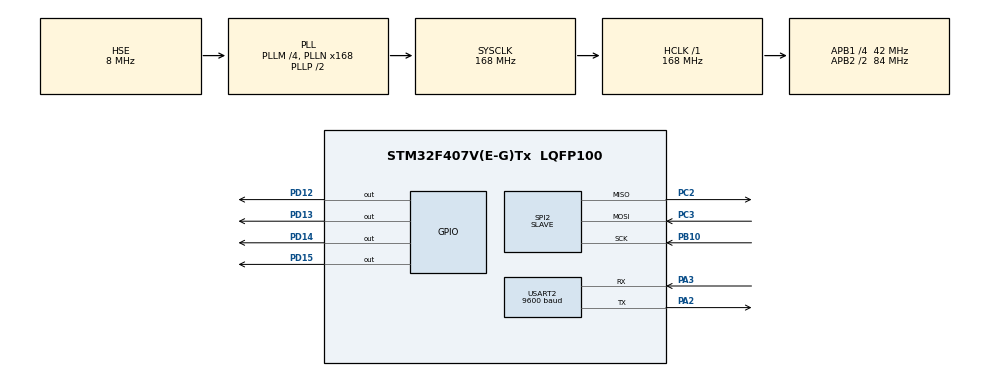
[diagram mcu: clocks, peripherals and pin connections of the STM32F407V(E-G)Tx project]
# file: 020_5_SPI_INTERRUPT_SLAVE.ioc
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Mcu.Family=STM32F4
PC3.Mode=Full_Duplex_Slave
RCC.PLLSourceVirtual=RCC_PLLSOURCE_HSE
PH0-OSC_IN.Signal=RCC_OSC_IN
RCC.CortexFreq_Value=168000000
SPI2.VirtualType=VM_SLAVE
PB10.Mode=Full_Duplex_Slave
PC2.Signal=SPI2_MISO
PC2.Mode=Full_Duplex_Slave
RCC.APB1CLKDivider=RCC_HCLK_DIV4
USART2.BaudRate=9600
RCC.SYSCLKSource=RCC_SYSCLKSOURCE_PLLCLK
ProjectManager.StackSize=0x400
PA13.Signal=SYS_JTMS-SWDIO
PD13.Signal=GPIO_Output
PA3.Mode=Asynchronous
SPI2.CLKPolarity=SPI_POLARITY_HIGH
ProjectManager.TargetToolchain=STM32CubeIDE
RCC.HCLKFreq_Value=168000000
RCC.APB2TimFreq_Value=168000000
PC3.Signal=SPI2_MOSI
RCC.LSE_VALUE=32768
RCC.AHBFreq_Value=168000000
PH0-OSC_IN.Mode=HSE-External-Oscillator
PB10.Signal=SPI2_SCK
RCC.HSE_VALUE=8000000
board=custom
RCC.VCOOutputFreq_Value=336000000
RCC.APB2Freq_Value=84000000
PA14.Mode=Serial_Wire
PH1-OSC_OUT.Signal=RCC_OSC_OUT
NVIC.SPI2_IRQn=true\:0\:0\:false\:false\:true\:true\:true
PA13.Mode=Serial_Wire
Mcu.Name=STM32F407V(E-G)Tx
PA2.Signal=USART2_TX
PD14.Signal=GPIO_Output
PH1-OSC_OUT.Mode=HSE-External-Oscillator
RCC.48MHZClocksFreq_Value=84000000
RCC.SYSCLKFreq_VALUE=168000000
Mcu.Package=LQFP100
SPI2.Mode=SPI_MODE_SLAVE
USART2.VirtualMode=VM_ASYNC
PD12.Signal=GPIO_Output
PA14.Signal=SYS_JTCK-SWCLK
ProjectManager.HeapSize=0x200
RCC.HSI_VALUE=16000000
NVIC.PriorityGroup=NVIC_PRIORITYGROUP_4
RCC.APB2CLKDivider=RCC_HCLK_DIV2
RCC.PLLM=4
RCC.PLLN=168
RCC.APB1TimFreq_Value=84000000
PA2.Mode=Asynchronous
SPI2.Direction=SPI_DIRECTION_2LINES
RCC.APB1Freq_Value=42000000
PD15.Signal=GPIO_Output
PA3.Signal=USART2_RX

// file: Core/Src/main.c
/* USER CODE BEGIN Header */
/**
  ******************************************************************************
  * @file           : main.c
  * @brief          : Main program body
  ******************************************************************************
  * @attention
  *
  * <h2><center>&copy; Copyright (c) 2021 STMicroelectronics.
  * All rights reserved.</center></h2>
  *
  * This software component is licensed by ST under BSD 3-Clause license,
  * the "License"; You may not use this file except in compliance with the
  * License. You may obtain a copy of the License at:
  *                        opensource.org/licenses/BSD-3-Clause
  *
  ******************************************************************************
  */
/* USER CODE END Header */
#include "main.h"

SPI_HandleTypeDef hspi2;

UART_HandleTypeDef huart2;

void SystemClock_Config(void);
static void MX_GPIO_Init(void);
static void MX_SPI2_Init(void);
static void MX_USART2_UART_Init(void);
/* USER CODE BEGIN PFP */

uint8_t  uartTxBuffer[] = "\r\n SLAVE SPI - INTERRUPT MODDA IKI KART HABERLESMESI \r\n ";
uint8_t  aTxBuffer[] = "SPI SLAVE'DEN CEVAP: SLAVE' DEN MESAJ ALINDI";
uint8_t  aRxBuffer[43]= {0};

/* USER CODE END PFP */

int main(void)
{

  /* MCU Configuration--------------------------------------------------------*/

  /* Reset of all peripherals, Initializes the Flash interface and the Systick. */
  HAL_Init();

  /* Configure the system clock */
  SystemClock_Config();

  /* Initialize all configured peripherals */
  MX_GPIO_Init();
  MX_SPI2_Init();
  MX_USART2_UART_Init();
  /* USER CODE BEGIN 2 */

  for(volatile uint8_t i=0; i<16;i++)
  {
	  HAL_GPIO_TogglePin(GPIOD, GPIO_PIN_12);
	  HAL_GPIO_TogglePin(GPIOD, GPIO_PIN_13);
	  HAL_Delay(100);

  }
  HAL_GPIO_WritePin(GPIOD, GPIO_PIN_12, RESET);
  HAL_GPIO_WritePin(GPIOD, GPIO_PIN_13, RESET);

  if(HAL_UART_Transmit(&huart2, (uint8_t*)uartTxBuffer, 55, 5000) != HAL_OK)
  {
 	 Error_Handler();
  }
  __HAL_SPI_ENABLE(&hspi2);

//  if(HAL_SPI_TransmitReceive_IT(&hspi2, (uint8_t *)aTxBuffer, (uint8_t *)aRxBuffer, 43) != HAL_OK)
//  {
//	  Error_Handler();
//  }
//
//  while (HAL_SPI_GetState(&hspi2) != HAL_SPI_STATE_READY);

  /* USER CODE END 2 */

  /* Infinite loop */
  /* USER CODE BEGIN WHILE */
  while (1)
  {
	  while(HAL_SPI_TransmitReceive_IT(&hspi2, (uint8_t *)aTxBuffer, (uint8_t *)aRxBuffer, 43) != HAL_OK)
	  {
		  Error_Handler();
	  }
	  HAL_GPIO_WritePin(GPIOD, GPIO_PIN_12, SET);
      HAL_GPIO_WritePin(GPIOD, GPIO_PIN_13, SET);
	  HAL_GPIO_WritePin(GPIOD, GPIO_PIN_14, SET);
      HAL_GPIO_WritePin(GPIOD, GPIO_PIN_15, SET);
      while(HAL_UART_GetState(&huart2) != HAL_UART_STATE_READY);
      if(HAL_UART_Transmit(&huart2, (uint8_t*)aRxBuffer, 43, 100) != HAL_OK)
      {
    	  Error_Handler();
      }
      HAL_Delay(500);
    /* USER CODE END WHILE */

  }
}

void SystemClock_Config(void)
{
  RCC_OscInitTypeDef RCC_OscInitStruct = {0};
  RCC_ClkInitTypeDef RCC_ClkInitStruct = {0};

  /** Configure the main internal regulator output voltage
  */
  __HAL_RCC_PWR_CLK_ENABLE();
  __HAL_PWR_VOLTAGESCALING_CONFIG(PWR_REGULATOR_VOLTAGE_SCALE1);
  /** Initializes the RCC Oscillators according to the specified parameters
  * in the RCC_OscInitTypeDef structure.
  */
  RCC_OscInitStruct.OscillatorType = RCC_OSCILLATORTYPE_HSE;
  RCC_OscInitStruct.HSEState = RCC_HSE_ON;
  RCC_OscInitStruct.PLL.PLLState = RCC_PLL_ON;
  RCC_OscInitStruct.PLL.PLLSource = RCC_PLLSOURCE_HSE;
  RCC_OscInitStruct.PLL.PLLM = 4;
  RCC_OscInitStruct.PLL.PLLN = 168;
  RCC_OscInitStruct.PLL.PLLP = RCC_PLLP_DIV2;
  RCC_OscInitStruct.PLL.PLLQ = 4;
  if (HAL_RCC_OscConfig(&RCC_OscInitStruct) != HAL_OK)
  {
    Error_Handler();
  }
  /** Initializes the CPU, AHB and APB buses clocks
  */
  RCC_ClkInitStruct.ClockType = RCC_CLOCKTYPE_HCLK|RCC_CLOCKTYPE_SYSCLK
                              |RCC_CLOCKTYPE_PCLK1|RCC_CLOCKTYPE_PCLK2;
  RCC_ClkInitStruct.SYSCLKSource = RCC_SYSCLKSOURCE_PLLCLK;
  RCC_ClkInitStruct.AHBCLKDivider = RCC_SYSCLK_DIV1;
  RCC_ClkInitStruct.APB1CLKDivider = RCC_HCLK_DIV4;
  RCC_ClkInitStruct.APB2CLKDivider = RCC_HCLK_DIV2;

  if (HAL_RCC_ClockConfig(&RCC_ClkInitStruct, FLASH_LATENCY_5) != HAL_OK)
  {
    Error_Handler();
  }
}

static void MX_SPI2_Init(void)
{

  /* SPI2 parameter configuration*/
  hspi2.Instance = SPI2;
  hspi2.Init.Mode = SPI_MODE_SLAVE;
  hspi2.Init.Direction = SPI_DIRECTION_2LINES;
  hspi2.Init.DataSize = SPI_DATASIZE_8BIT;
  hspi2.Init.CLKPolarity = SPI_POLARITY_HIGH;
  hspi2.Init.CLKPhase = SPI_PHASE_1EDGE;
  hspi2.Init.NSS = SPI_NSS_SOFT;
  hspi2.Init.FirstBit = SPI_FIRSTBIT_MSB;
  hspi2.Init.TIMode = SPI_TIMODE_DISABLE;
  hspi2.Init.CRCCalculation = SPI_CRCCALCULATION_DISABLE;
  hspi2.Init.CRCPolynomial = 10;
  if (HAL_SPI_Init(&hspi2) != HAL_OK)
  {
    Error_Handler();
  }

}

static void MX_USART2_UART_Init(void)
{

  huart2.Instance = USART2;
  huart2.Init.BaudRate = 9600;
  huart2.Init.WordLength = UART_WORDLENGTH_8B;
  huart2.Init.StopBits = UART_STOPBITS_1;
  huart2.Init.Parity = UART_PARITY_NONE;
  huart2.Init.Mode = UART_MODE_TX_RX;
  huart2.Init.HwFlowCtl = UART_HWCONTROL_NONE;
  huart2.Init.OverSampling = UART_OVERSAMPLING_16;
  if (HAL_UART_Init(&huart2) != HAL_OK)
  {
    Error_Handler();
  }

}

static void MX_GPIO_Init(void)
{
  GPIO_InitTypeDef GPIO_InitStruct = {0};

  /* GPIO Ports Clock Enable */
  __HAL_RCC_GPIOH_CLK_ENABLE();
  __HAL_RCC_GPIOC_CLK_ENABLE();
  __HAL_RCC_GPIOA_CLK_ENABLE();
  __HAL_RCC_GPIOB_CLK_ENABLE();
  __HAL_RCC_GPIOD_CLK_ENABLE();

  /*Configure GPIO pin Output Level */
  HAL_GPIO_WritePin(GPIOD, GPIO_PIN_12|GPIO_PIN_13|GPIO_PIN_14|GPIO_PIN_15, GPIO_PIN_RESET);

  /*Configure GPIO pins : PD12 PD13 PD14 PD15 */
  GPIO_InitStruct.Pin = GPIO_PIN_12|GPIO_PIN_13|GPIO_PIN_14|GPIO_PIN_15;
  GPIO_InitStruct.Mode = GPIO_MODE_OUTPUT_PP;
  GPIO_InitStruct.Pull = GPIO_NOPULL;
  GPIO_InitStruct.Speed = GPIO_SPEED_FREQ_LOW;
  HAL_GPIO_Init(GPIOD, &GPIO_InitStruct);

}

/* USER CODE BEGIN 4 */

void HAL_SPI_TxRxCpltCallback(SPI_HandleTypeDef *hspi)
{

}

/* USER CODE END 4 */

void Error_Handler(void)
{
  /* USER CODE BEGIN Error_Handler_Debug */

	HAL_GPIO_WritePin(GPIOD, GPIO_PIN_12, RESET);
	HAL_GPIO_WritePin(GPIOD, GPIO_PIN_13, RESET);
	HAL_GPIO_WritePin(GPIOD, GPIO_PIN_14, RESET);
	HAL_GPIO_WritePin(GPIOD, GPIO_PIN_15, RESET);
  /* User can add his own implementation to report the HAL error return state */
  __disable_irq();
  while (1)
  {
  }
  /* USER CODE END Error_Handler_Debug */
}

/************************ (C) COPYRIGHT STMicroelectronics *****END OF FILE****/
